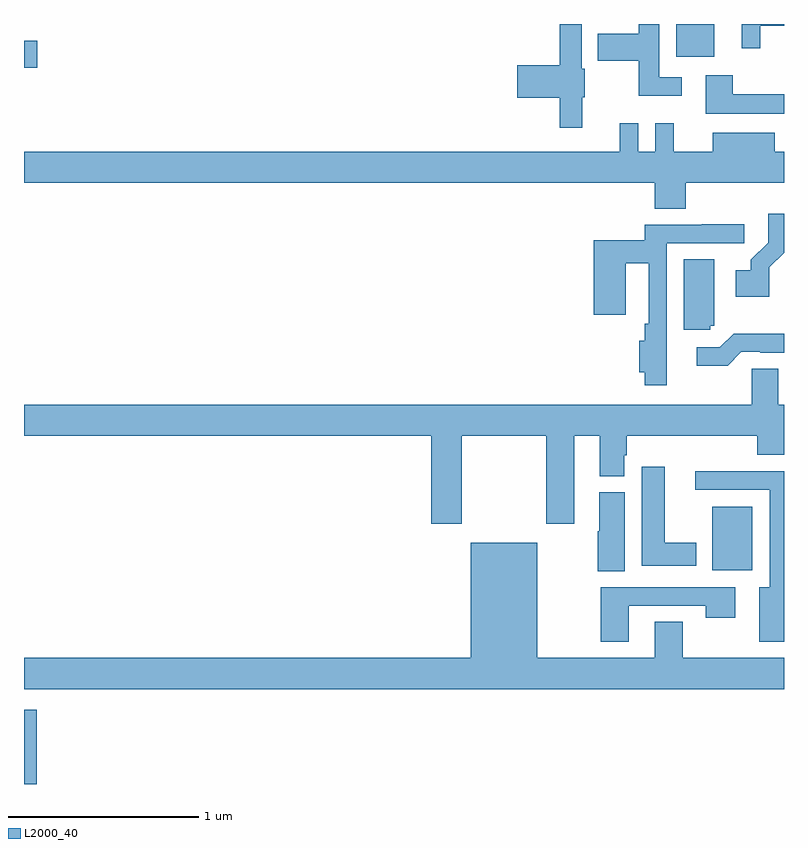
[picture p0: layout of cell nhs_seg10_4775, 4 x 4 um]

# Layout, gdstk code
import gdstk
lib = gdstk.Library(unit=1e-6, precision=1e-09)
def R(c, l, rs):  # rectangles x0, y0, x1, y1
    for r in rs: c.add(gdstk.rectangle(r[:2], r[2:], *l))
def P(c, l, *ps):  # polygons
    for p in ps: c.add(gdstk.Polygon(p, *l))
L2000_40 = (2000, 40)

nhs_seg10_4775 = lib.new_cell('nhs_seg10_4775')
R(nhs_seg10_4775, L2000_40, [(385,1282.5,385.067,1282.89), (388.622,1283.624,388.834,1283.959), (385,1286.269,385.069,1286.411), (388.433,1286.327,388.633,1286.5)])
P(nhs_seg10_4775, L2000_40, [(388.462,1286.22),(388.344,1286.22),(388.344,1286.5),(388.236,1286.5),(388.236,1286.449),(388.021,1286.449),(388.021,1286.306),(388.236,1286.306),(388.236,1286.123),(388.462,1286.123)],
  [(387.938,1286.115),(387.951,1286.115),(387.951,1286.265),(387.936,1286.265),(387.936,1286.5),(387.82,1286.5),(387.82,1286.282),(387.597,1286.282),(387.597,1286.111),(387.82,1286.111),(387.82,1285.953),(387.938,1285.953)],
  [(388.876,1286.49),(389,1286.49),(389,1286.5),(388.778,1286.5),(388.778,1286.373),(388.876,1286.373)],
  [(389,1286.131),(388.729,1286.131),(388.729,1286.23),(388.589,1286.23),(388.589,1286.027),(389,1286.027)],
  [(388.484,1285.664),(389,1285.664),(389,1285.828),(388.951,1285.828),(388.951,1285.927),(388.625,1285.927),(388.625,1285.828),(388.421,1285.828),(388.421,1285.978),(388.323,1285.978),(388.323,1285.828),(388.233,1285.828),(388.233,1285.978),(388.136,1285.978),(388.136,1285.828),(385,1285.828),(385,1285.664),(388.319,1285.664),(388.319,1285.528),(388.484,1285.528)],
  [(388.923,1285.219),(389,1285.296),(389,1285.501),(388.917,1285.501),(388.917,1285.349),(388.826,1285.259),(388.826,1285.204),(388.746,1285.204),(388.746,1285.064),(388.923,1285.064)],
  [(388.384,1284.822),(388.383,1284.822),(388.383,1285.347),(388.792,1285.347),(388.792,1285.446),(388.567,1285.446),(388.567,1285.443),(388.267,1285.443),(388.267,1285.363),(387.998,1285.363),(387.998,1284.969),(388.168,1284.969),(388.168,1285.242),(388.287,1285.242),(388.287,1284.922),(388.267,1284.922),(388.267,1284.834),(388.238,1284.834),(388.238,1284.668),(388.267,1284.668),(388.267,1284.6),(388.384,1284.6)],
  [(388.611,1284.912),(388.633,1284.912),(388.633,1285.261),(388.472,1285.261),(388.472,1284.891),(388.611,1284.891)],
  [(388.776,1284.774),(388.876,1284.774),(388.876,1284.771),(389,1284.771),(389,1284.871),(388.735,1284.871),(388.662,1284.798),(388.542,1284.798),(388.542,1284.701),(388.703,1284.701)],
  [(388.859,1284.233),(389,1284.233),(389,1284.496),(388.969,1284.496),(388.969,1284.686),(388.83,1284.686),(388.83,1284.496),(385,1284.496),(385,1284.332),(387.143,1284.332),(387.143,1283.871),(387.303,1283.871),(387.303,1284.332),(387.748,1284.332),(387.748,1283.871),(387.895,1283.871),(387.895,1284.332),(388.031,1284.332),(388.031,1284.121),(388.159,1284.121),(388.159,1284.231),(388.172,1284.231),(388.172,1284.332),(388.859,1284.332)],
  [(388.537,1283.77),(388.372,1283.77),(388.372,1284.169),(388.25,1284.169),(388.25,1283.648),(388.537,1283.648)],
  [(389,1284.146),(388.533,1284.146),(388.533,1284.048),(388.925,1284.048),(388.925,1283.536),(388.871,1283.536),(388.871,1283.25),(389,1283.25)],
  [(388.162,1284.036),(388.028,1284.036),(388.028,1283.829),(388.021,1283.829),(388.021,1283.62),(388.162,1283.62)],
  [(389,1283.164),(388.467,1283.164),(388.467,1283.354),(388.319,1283.354),(388.319,1283.164),(387.7,1283.164),(387.7,1283.77),(387.35,1283.77),(387.35,1283.164),(385,1283.164),(385,1283),(389,1283)],
  [(388.183,1283.439),(388.588,1283.439),(388.588,1283.376),(388.744,1283.376),(388.744,1283.535),(388.036,1283.535),(388.036,1283.25),(388.183,1283.25)])

lib.write_gds('nhs_seg10_4775.gds')
